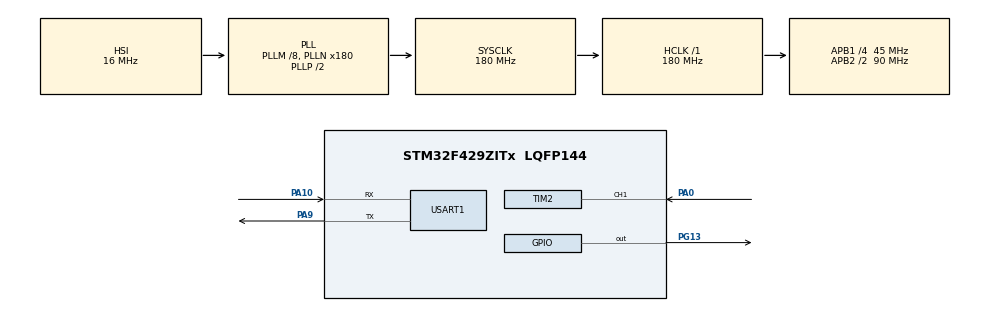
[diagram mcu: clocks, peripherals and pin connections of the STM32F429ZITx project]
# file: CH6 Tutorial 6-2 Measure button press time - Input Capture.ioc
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Mcu.Family=STM32F4
Mcu.Name=STM32F429ZITx
Mcu.Package=LQFP144
NVIC.PriorityGroup=NVIC_PRIORITYGROUP_0
NVIC.TIM2_IRQn=true\:0\:0\:false\:false\:true\:true\:true\:true
PA0/WKUP.Signal=S_TIM2_CH1_ETR
PA10.Mode=Asynchronous
PA10.Signal=USART1_RX
PA9.Mode=Asynchronous
PA9.Signal=USART1_TX
PG13.Signal=GPIO_Output
ProjectManager.HeapSize=0x200
ProjectManager.StackSize=0x400
ProjectManager.TargetToolchain=STM32CubeIDE
RCC.48MHZClocksFreq_Value=51428571.428571425
RCC.AHBFreq_Value=180000000
RCC.APB1CLKDivider=RCC_HCLK_DIV4
RCC.APB1Freq_Value=45000000
RCC.APB1TimFreq_Value=90000000
RCC.APB2CLKDivider=RCC_HCLK_DIV2
RCC.APB2Freq_Value=90000000
RCC.APB2TimFreq_Value=180000000
RCC.CortexFreq_Value=180000000
RCC.HCLKFreq_Value=180000000
RCC.HSE_VALUE=8000000
RCC.HSI_VALUE=16000000
RCC.LSE_VALUE=32768
RCC.PLLM=8
RCC.PLLN=180
RCC.PLLQ=7
RCC.SYSCLKFreq_VALUE=180000000
RCC.SYSCLKSource=RCC_SYSCLKSOURCE_PLLCLK
RCC.VCOOutputFreq_Value=360000000
SH.S_TIM2_CH1_ETR.0=TIM2_CH1,Input_Capture1_from_TI1
TIM2.Channel-Input_Capture1_from_TI1=TIM_CHANNEL_1
TIM2.ICPolarity_CH1=TIM_INPUTCHANNELPOLARITY_BOTHEDGE
TIM2.Prescaler=0
USART1.OverSampling=UART_OVERSAMPLING_8
USART1.VirtualMode=VM_ASYNC
VP_TIM2_VS_ClockSourceINT.Mode=Internal
board=STM32F429I-DISC1

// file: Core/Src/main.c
/* USER CODE BEGIN Header */
/**
  ******************************************************************************
  * @file           : main.c
  * @brief          : Main program body
  ******************************************************************************
  * @attention
  *
  * Copyright (c) 2023 STMicroelectronics.
  * All rights reserved.
  *
  * This software is licensed under terms that can be found in the LICENSE file
  * in the root directory of this software component.
  * If no LICENSE file comes with this software, it is provided AS-IS.
  *
  ******************************************************************************
  */
	/***************************** Tutorial Tags ******************************
	 Base Timer Input Compare
	 Timer Input Capture interrupt
	 UART serial communication
	 **************************************************************************/

	/* 6.4.1 Timer Usage C Language: ******************************************
	* Tutorial 6-2: Measuring the button pressing time using the input capture mode,
	* in C language
	*

    Use an appropriate timer for this application.

	In this tutorial we are turning on and off the green LED, connected to pin
	PG13 of the STM32F4 board. More precisely, the green LED will be turned on if
	pressing time of the user button, connected to pin PA0 of the STM32F4 board, is
	more than 3 s. If this time is less than 3 s, then the green LED turns off.

	We also try in this tutorial to send the presseing time via UART to the PC and
	display on a serial terminal such as Putty

	Note: in order to use printf with floats, you would need to enable this by going
	to Project- properties - MCU settings and check the box related this.
	***************************************************************************/
/* USER CODE END Header */
#include "main.h"

/* USER CODE BEGIN Includes */
#include <stdio.h>

/* USER CODE END Includes */

/* USER CODE BEGIN PD */
#define Counter_period 0xFFFFFFFF+1
#define Tim_freq 90E6

/* USER CODE END PD */

TIM_HandleTypeDef htim2;

UART_HandleTypeDef huart1;

/* USER CODE BEGIN PV */

uint32_t icRisingEdgeValue, icFallingEdgeValue, buffer_len, icFlag;
float pressing_time;
char buffer [100];

/* USER CODE END PV */

void SystemClock_Config(void);
static void MX_GPIO_Init(void);
static void MX_TIM2_Init(void);
static void MX_USART1_UART_Init(void);

int main(void)
{

  /* MCU Configuration--------------------------------------------------------*/

  /* Reset of all peripherals, Initializes the Flash interface and the Systick. */
  HAL_Init();

  /* Configure the system clock */
  SystemClock_Config();

  /* Initialize all configured peripherals */
  MX_GPIO_Init();
  MX_TIM2_Init();
  MX_USART1_UART_Init();
  /* USER CODE BEGIN 2 */
  HAL_TIM_Base_Start(&htim2);
  HAL_TIM_IC_Start_IT(&htim2, TIM_CHANNEL_1);

  /* USER CODE END 2 */

  /* Infinite loop */
  while (1)
  {

  }
}

void SystemClock_Config(void)
{
  RCC_OscInitTypeDef RCC_OscInitStruct = {0};
  RCC_ClkInitTypeDef RCC_ClkInitStruct = {0};

  /** Configure the main internal regulator output voltage
  */
  __HAL_RCC_PWR_CLK_ENABLE();
  __HAL_PWR_VOLTAGESCALING_CONFIG(PWR_REGULATOR_VOLTAGE_SCALE1);

  /** Initializes the RCC Oscillators according to the specified parameters
  * in the RCC_OscInitTypeDef structure.
  */
  RCC_OscInitStruct.OscillatorType = RCC_OSCILLATORTYPE_HSI;
  RCC_OscInitStruct.HSIState = RCC_HSI_ON;
  RCC_OscInitStruct.HSICalibrationValue = RCC_HSICALIBRATION_DEFAULT;
  RCC_OscInitStruct.PLL.PLLState = RCC_PLL_ON;
  RCC_OscInitStruct.PLL.PLLSource = RCC_PLLSOURCE_HSI;
  RCC_OscInitStruct.PLL.PLLM = 8;
  RCC_OscInitStruct.PLL.PLLN = 180;
  RCC_OscInitStruct.PLL.PLLP = RCC_PLLP_DIV2;
  RCC_OscInitStruct.PLL.PLLQ = 7;
  if (HAL_RCC_OscConfig(&RCC_OscInitStruct) != HAL_OK)
  {
    Error_Handler();
  }

  /** Activate the Over-Drive mode
  */
  if (HAL_PWREx_EnableOverDrive() != HAL_OK)
  {
    Error_Handler();
  }

  /** Initializes the CPU, AHB and APB buses clocks
  */
  RCC_ClkInitStruct.ClockType = RCC_CLOCKTYPE_HCLK|RCC_CLOCKTYPE_SYSCLK
                              |RCC_CLOCKTYPE_PCLK1|RCC_CLOCKTYPE_PCLK2;
  RCC_ClkInitStruct.SYSCLKSource = RCC_SYSCLKSOURCE_PLLCLK;
  RCC_ClkInitStruct.AHBCLKDivider = RCC_SYSCLK_DIV1;
  RCC_ClkInitStruct.APB1CLKDivider = RCC_HCLK_DIV4;
  RCC_ClkInitStruct.APB2CLKDivider = RCC_HCLK_DIV2;

  if (HAL_RCC_ClockConfig(&RCC_ClkInitStruct, FLASH_LATENCY_5) != HAL_OK)
  {
    Error_Handler();
  }
}

static void MX_TIM2_Init(void)
{

  TIM_ClockConfigTypeDef sClockSourceConfig = {0};
  TIM_MasterConfigTypeDef sMasterConfig = {0};
  TIM_IC_InitTypeDef sConfigIC = {0};

  htim2.Instance = TIM2;
  htim2.Init.Prescaler = 0;
  htim2.Init.CounterMode = TIM_COUNTERMODE_UP;
  htim2.Init.Period = 4294967295;
  htim2.Init.ClockDivision = TIM_CLOCKDIVISION_DIV1;
  htim2.Init.AutoReloadPreload = TIM_AUTORELOAD_PRELOAD_DISABLE;
  if (HAL_TIM_Base_Init(&htim2) != HAL_OK)
  {
    Error_Handler();
  }
  sClockSourceConfig.ClockSource = TIM_CLOCKSOURCE_INTERNAL;
  if (HAL_TIM_ConfigClockSource(&htim2, &sClockSourceConfig) != HAL_OK)
  {
    Error_Handler();
  }
  if (HAL_TIM_IC_Init(&htim2) != HAL_OK)
  {
    Error_Handler();
  }
  sMasterConfig.MasterOutputTrigger = TIM_TRGO_RESET;
  sMasterConfig.MasterSlaveMode = TIM_MASTERSLAVEMODE_DISABLE;
  if (HAL_TIMEx_MasterConfigSynchronization(&htim2, &sMasterConfig) != HAL_OK)
  {
    Error_Handler();
  }
  sConfigIC.ICPolarity = TIM_INPUTCHANNELPOLARITY_BOTHEDGE;
  sConfigIC.ICSelection = TIM_ICSELECTION_DIRECTTI;
  sConfigIC.ICPrescaler = TIM_ICPSC_DIV1;
  sConfigIC.ICFilter = 0;
  if (HAL_TIM_IC_ConfigChannel(&htim2, &sConfigIC, TIM_CHANNEL_1) != HAL_OK)
  {
    Error_Handler();
  }

}

static void MX_USART1_UART_Init(void)
{

  huart1.Instance = USART1;
  huart1.Init.BaudRate = 115200;
  huart1.Init.WordLength = UART_WORDLENGTH_8B;
  huart1.Init.StopBits = UART_STOPBITS_1;
  huart1.Init.Parity = UART_PARITY_NONE;
  huart1.Init.Mode = UART_MODE_TX_RX;
  huart1.Init.HwFlowCtl = UART_HWCONTROL_NONE;
  huart1.Init.OverSampling = UART_OVERSAMPLING_8;
  if (HAL_UART_Init(&huart1) != HAL_OK)
  {
    Error_Handler();
  }

}

static void MX_GPIO_Init(void)
{
  GPIO_InitTypeDef GPIO_InitStruct = {0};

  /* GPIO Ports Clock Enable */
  __HAL_RCC_GPIOA_CLK_ENABLE();
  __HAL_RCC_GPIOG_CLK_ENABLE();

  /*Configure GPIO pin Output Level */
  HAL_GPIO_WritePin(GPIOG, GPIO_PIN_13, GPIO_PIN_RESET);

  /*Configure GPIO pin : PG13 */
  GPIO_InitStruct.Pin = GPIO_PIN_13;
  GPIO_InitStruct.Mode = GPIO_MODE_OUTPUT_PP;
  GPIO_InitStruct.Pull = GPIO_NOPULL;
  GPIO_InitStruct.Speed = GPIO_SPEED_FREQ_LOW;
  HAL_GPIO_Init(GPIOG, &GPIO_InitStruct);

}

/* USER CODE BEGIN 4 */
void HAL_TIM_IC_CaptureCallback(TIM_HandleTypeDef *htim){
	if(htim == &htim2){

		if(HAL_GPIO_ReadPin(GPIOA, GPIO_PIN_0) == GPIO_PIN_SET){
			icRisingEdgeValue = HAL_TIM_ReadCapturedValue(&htim2, TIM_CHANNEL_1);
		}

		if(HAL_GPIO_ReadPin(GPIOA, GPIO_PIN_0) == GPIO_PIN_RESET){

			icFallingEdgeValue = HAL_TIM_ReadCapturedValue(&htim2, TIM_CHANNEL_1);

			pressing_time = (float) (icFallingEdgeValue - icRisingEdgeValue)/Tim_freq;

			if (pressing_time < 0){
				pressing_time = (icFallingEdgeValue + Counter_period - icRisingEdgeValue)/Tim_freq;

				if (pressing_time > 3 ){

					HAL_GPIO_WritePin(GPIOG, GPIO_PIN_13, GPIO_PIN_SET);
				}
				else {
					HAL_GPIO_WritePin(GPIOG, GPIO_PIN_13, GPIO_PIN_RESET);
				}
			}
			else {
				if (pressing_time > 3 ){
					HAL_GPIO_WritePin(GPIOG, GPIO_PIN_13, GPIO_PIN_SET);
				}
				else {
					HAL_GPIO_WritePin(GPIOG, GPIO_PIN_13, GPIO_PIN_RESET);

				}
			}
			// Send pressing time via UART to PC
			buffer_len = sprintf(buffer, "Time button is pressed: %.2f\r\n", pressing_time);
		    HAL_UART_Transmit(&huart1, (const uint8_t*) buffer, buffer_len, 100);
		}

	}
}

/* USER CODE END 4 */

void Error_Handler(void)
{
  __disable_irq();
  while (1)
  {
  }
}
